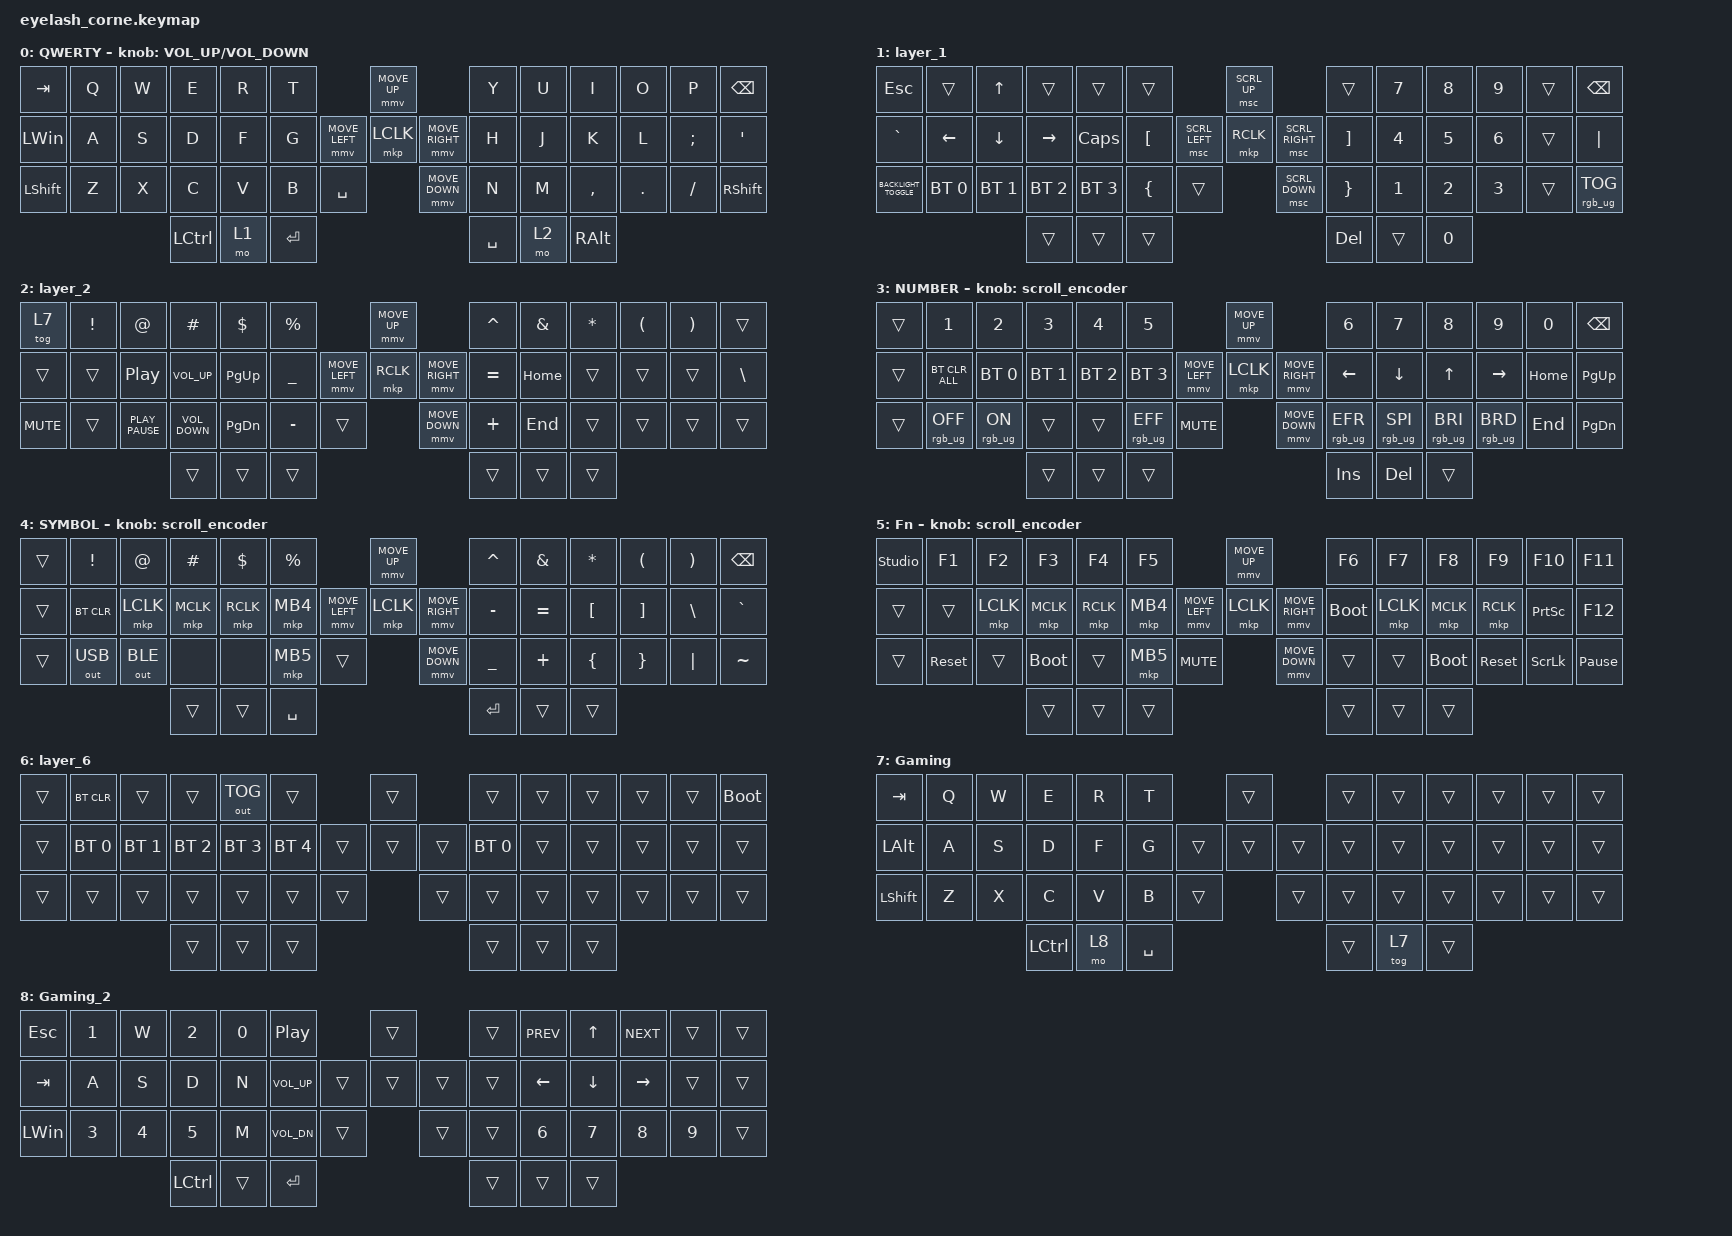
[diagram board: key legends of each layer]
#define ZMK_POINTING_DEFAULT_MOVE_VAL 1200  // 600
#define ZMK_POINTING_DEFAULT_SCRL_VAL 25   // 10

#include <input/processors.dtsi>
#include <zephyr/dt-bindings/input/input-event-codes.h>
#include <behaviors.dtsi>
#include <dt-bindings/zmk/bt.h>
#include <dt-bindings/zmk/keys.h>
#include <dt-bindings/zmk/outputs.h>
#include <dt-bindings/zmk/pointing.h>
#include <dt-bindings/zmk/rgb.h>

&mmv_input_listener { input-processors = <&zip_xy_scaler 2 1>; };

&msc_input_listener { input-processors = <&zip_scroll_scaler 2 1>; };

&msc {
    acceleration-exponent = <1>;      // 0
    time-to-max-speed-ms = <100>;       // 300
    delay-ms = <0>;                   // 0
};

&mmv {
    time-to-max-speed-ms = <500>;
    acceleration-exponent = <1>;
    trigger-period-ms = <16>;
};

/ {
    behaviors {
        td0: td0 {
            compatible = "zmk,behavior-tap-dance";
            display-name = "Shift/Caps Lock Tap Dance";
            #binding-cells = <0>;
            bindings = <&kp LEFT_SHIFT>, <&kp CAPS>;
        };
    };

    rgb_encoder: rgb_encoder {
        compatible = "zmk,behavior-sensor-rotate";
        #sensor-binding-cells = <0>;
        bindings = <&rgb_ug RGB_BRI>, <&rgb_ug RGB_BRD>;
    };

    scroll_encoder: scroll_encoder {
        compatible = "zmk,behavior-sensor-rotate";
        #sensor-binding-cells = <0>;
        bindings = <&msc SCRL_DOWN>, <&msc SCRL_UP>;

        tap-ms = <100>;
    };

    macros {
        ctrlleft: ctrlleft {
            compatible = "zmk,behavior-macro";
            #binding-cells = <0>;
            bindings = <&macro_press>, <&kp LEFT>, <&macro_release>;

            label = "CTRLLEFT";
        };

        controlright: controlright {
            compatible = "zmk,behavior-macro";
            #binding-cells = <0>;
            bindings = <&none>;
            label = "CONTROLRIGHT";
        };
    };

    combos {
        compatible = "zmk,combos";

        combo_layer {
            bindings = <&sl 6>;
            key-positions = <43 46>;
        };
    };

    keymap {
        compatible = "zmk,keymap";

        default_layer {
            display-name = "QWERTY";
            bindings = <
&kp TAB         &kp Q  &kp W  &kp E      &kp R  &kp T                                   &mmv MOVE_UP                     &kp Y      &kp U  &kp I      &kp O    &kp P     &kp BSPC
&kp LEFT_WIN    &kp A  &kp S  &kp D      &kp F  &kp G                   &mmv MOVE_LEFT  &mkp LCLK       &mmv MOVE_RIGHT  &kp H      &kp J  &kp K      &kp L    &kp SEMI  &kp SQT
&kp LEFT_SHIFT  &kp Z  &kp X  &kp C      &kp V  &kp B      &kp SPACE                    &mmv MOVE_DOWN                   &kp N      &kp M  &kp COMMA  &kp DOT  &kp FSLH  &kp RSHIFT
                              &kp LCTRL  &mo 1  &kp ENTER                                                                &kp SPACE  &mo 2  &kp RALT
            >;

            sensor-bindings = <&inc_dec_kp C_VOLUME_UP C_VOLUME_DOWN>;
        };

        layer_1 {
            bindings = <
&kp ESCAPE              &trans        &kp UP        &trans        &trans        &trans                                      &msc SCRL_UP                     &trans             &kp N7        &kp N8        &kp N9        &trans  &kp BACKSPACE
&kp GRAVE               &kp LEFT      &kp DOWN      &kp RIGHT     &kp CAPS      &kp LEFT_BRACKET            &msc SCRL_LEFT  &mkp RCLK       &msc SCRL_RIGHT  &kp RIGHT_BRACKET  &kp NUMBER_4  &kp N5        &kp NUMBER_6  &trans  &kp PIPE
&kp C_BACKLIGHT_TOGGLE  &bt BT_SEL 0  &bt BT_SEL 1  &bt BT_SEL 2  &bt BT_SEL 3  &kp LEFT_BRACE    &trans                    &msc SCRL_DOWN                   &kp RIGHT_BRACE    &kp NUMBER_1  &kp NUMBER_2  &kp NUMBER_3  &trans  &rgb_ug RGB_TOG
                                                    &trans        &trans        &trans                                                                       &kp DELETE         &trans        &kp N0
            >;
        };

        layer_2 {
            bindings = <
&tog 7      &kp EXCLAMATION  &kp AT_SIGN       &kp HASH           &kp DOLLAR     &kp PERCENT                               &mmv MOVE_UP                     &kp CARET  &kp AMPERSAND  &kp ASTERISK  &kp LEFT_PARENTHESIS  &kp RIGHT_PARENTHESIS  &trans
&trans      &trans           &kp C_PLAY_PAUSE  &kp C_VOLUME_UP    &kp PAGE_UP    &kp UNDERSCORE            &mmv MOVE_LEFT  &mkp RCLK       &mmv MOVE_RIGHT  &kp EQUAL  &kp HOME       &trans        &trans                &trans                 &kp BACKSLASH
&kp C_MUTE  &trans           &kp K_PLAY_PAUSE  &kp C_VOLUME_DOWN  &kp PAGE_DOWN  &kp MINUS       &trans                    &mmv MOVE_DOWN                   &kp PLUS   &kp END        &trans        &trans                &trans                 &trans
                                               &trans             &trans         &trans                                                                     &trans     &trans         &trans
            >;
        };

        lower_layer {
            display-name = "NUMBER";
            bindings = <
&trans  &kp N1           &kp N2          &kp N3        &kp N4        &kp N5                                         &mmv MOVE_UP                     &kp N6           &kp N7           &kp N8           &kp N9           &kp N0    &kp BSPC
&trans  &bt BT_CLR_ALL   &bt BT_SEL 0    &bt BT_SEL 1  &bt BT_SEL 2  &bt BT_SEL 3                   &mmv MOVE_LEFT  &mkp LCLK       &mmv MOVE_RIGHT  &kp LEFT         &kp DOWN         &kp UP           &kp RIGHT        &kp HOME  &kp PG_UP
&trans  &rgb_ug RGB_OFF  &rgb_ug RGB_ON  &trans        &trans        &rgb_ug RGB_EFF  &kp C_MUTE                    &mmv MOVE_DOWN                   &rgb_ug RGB_EFR  &rgb_ug RGB_SPI  &rgb_ug RGB_BRI  &rgb_ug RGB_BRD  &kp END   &kp PG_DN
                                         &trans        &trans        &trans                                                                          &kp INS          &kp DEL          &trans
            >;

            sensor-bindings = <&scroll_encoder>;
        };

        raise_layer {
            display-name = "SYMBOL";
            bindings = <
&trans  &kp EXCL      &kp AT        &kp HASH   &kp DLLR   &kp PRCNT                            &mmv MOVE_UP                     &kp CARET  &kp AMPS   &kp ASTRK  &kp LPAR  &kp RPAR  &kp BSPC
&trans  &bt BT_CLR    &mkp LCLK     &mkp MCLK  &mkp RCLK  &mkp MB4             &mmv MOVE_LEFT  &mkp LCLK       &mmv MOVE_RIGHT  &kp MINUS  &kp EQUAL  &kp LBKT   &kp RBKT  &kp BSLH  &kp GRAVE
&trans  &out OUT_USB  &out OUT_BLE  &none      &none      &mkp MB5   &trans                    &mmv MOVE_DOWN                   &kp UNDER  &kp PLUS   &kp LBRC   &kp RBRC  &kp PIPE  &kp TILDE
                                    &trans     &trans     &kp SPACE                                                             &kp RET    &trans     &trans
            >;

            sensor-bindings = <&scroll_encoder>;
        };

        layer_3 {
            display-name = "Fn";
            bindings = <
&studio_unlock  &kp F1      &kp F2     &kp F3       &kp F4     &kp F5                                  &mmv MOVE_UP                     &kp F6       &kp F7     &kp F8       &kp F9      &kp F10          &kp F11
&trans          &trans      &mkp LCLK  &mkp MCLK    &mkp RCLK  &mkp MB4                &mmv MOVE_LEFT  &mkp LCLK       &mmv MOVE_RIGHT  &bootloader  &mkp LCLK  &mkp MCLK    &mkp RCLK   &kp PRINTSCREEN  &kp F12
&trans          &sys_reset  &trans     &bootloader  &trans     &mkp MB5  &kp C_MUTE                    &mmv MOVE_DOWN                   &trans       &trans     &bootloader  &sys_reset  &kp SCROLLLOCK   &kp PAUSE_BREAK
                                       &trans       &trans     &trans                                                                   &trans       &trans     &trans
            >;

            sensor-bindings = <&scroll_encoder>;
        };

        layer_6 {
            bindings = <
&trans  &bt BT_CLR    &trans        &trans        &out OUT_TOG  &trans                          &trans          &trans        &trans  &trans  &trans  &trans  &bootloader
&trans  &bt BT_SEL 0  &bt BT_SEL 1  &bt BT_SEL 2  &bt BT_SEL 3  &bt BT_SEL 4            &trans  &trans  &trans  &bt BT_SEL 0  &trans  &trans  &trans  &trans  &trans
&trans  &trans        &trans        &trans        &trans        &trans        &trans            &trans          &trans        &trans  &trans  &trans  &trans  &trans
                                    &trans        &trans        &trans                                          &trans        &trans  &trans
            >;
        };

        Gaming {
            bindings = <
&kp TAB     &kp Q  &kp W  &kp E      &kp R  &kp T                        &trans          &trans  &trans  &trans  &trans  &trans  &trans
&kp LALT    &kp A  &kp S  &kp D      &kp F  &kp G                &trans  &trans  &trans  &trans  &trans  &trans  &trans  &trans  &trans
&kp LSHIFT  &kp Z  &kp X  &kp C      &kp V  &kp B      &trans            &trans          &trans  &trans  &trans  &trans  &trans  &trans
                          &kp LCTRL  &mo 8  &kp SPACE                                    &trans  &tog 7  &trans
            >;
        };

        Gaming_2 {
            bindings = <
&kp ESCAPE    &kp NUMBER_1  &kp W         &kp NUMBER_2      &kp N0  &kp C_PLAY_PAUSE                    &trans          &trans  &kp C_PREV      &kp UP_ARROW  &kp C_NEXT  &trans  &trans
&kp TAB       &kp A         &kp S         &kp D             &kp N   &kp C_VOL_UP                &trans  &trans  &trans  &trans  &kp LEFT_ARROW  &kp DOWN      &kp RIGHT   &trans  &trans
&kp LEFT_WIN  &kp NUMBER_3  &kp NUMBER_4  &kp N5            &kp M   &kp C_VOL_DN      &trans            &trans          &trans  &kp NUMBER_6    &kp N7        &kp N8      &kp N9  &trans
                                          &kp LEFT_CONTROL  &trans  &kp ENTER                                           &trans  &trans          &trans
            >;
        };
    };
};
